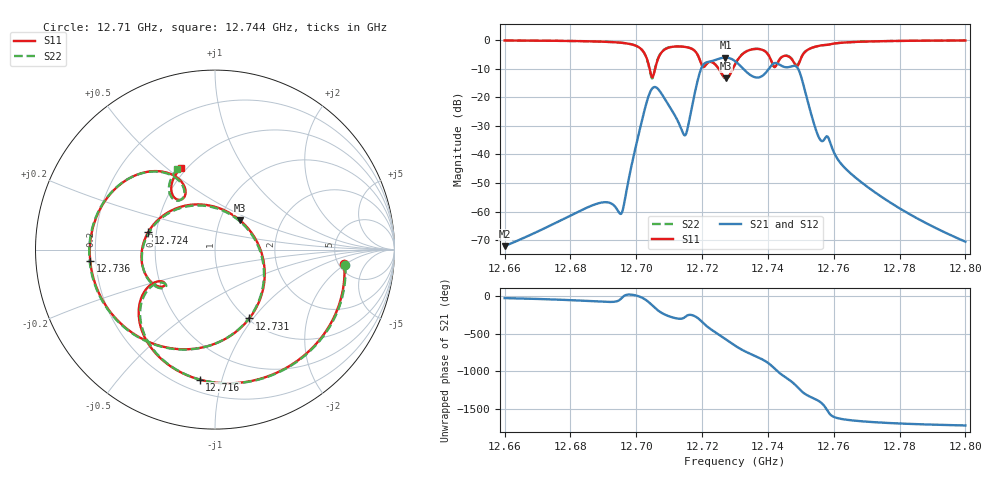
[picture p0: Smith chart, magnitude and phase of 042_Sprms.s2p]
! TOUCHSTONE file generated by CST MICROWAVE STUDIO
! Date and time: Wed Jul 31 12:47:23 2024
! Project name: WaveGuide_BPF-Ver4.1_U-shape_Ku_T3_C4_CWA_2.cst
! Parameters = {cavity_h=16; cavity_l0=10; cavity_l1=15.2186; cavity_l2=16.8383; cavity_l3=17.1344; cavity_l4=17.283; cavity_l5=17.0984; cavity_l6=17.5716; cavity_r=2.5; cavity_screw_l=0.5; cavity_screw_r=1.5; cavity_w=8; iris_h00=0; iris_h01=8.8056; iris_h112=0; iris_h12=5.5962; iris_h211=3.6683; i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
! Header version: 2018
! Port assignment regex: !\s*Touchstone port\s*([0-9]+)\s*=\s*(CST MWS port|CST DS port)\s*([0-9]+|Zmin|Zmax)\s*\(\"(.*)\"\)(\s*mode\s*([0-9]+))?.*
! Touchstone port assignment:
! Touchstone port 1 = CST MWS port 1 ("")
! Touchstone port 2 = CST MWS port 2 ("")
# GHz S RI R 50
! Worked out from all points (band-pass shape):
!   5001 points, 12.66 GHz to 12.8 GHz, reference 50 ohm
!   highest |S21| = -6.15 dB at 12.727 GHz (marker M1); lowest = -72.1 dB at 12.66 GHz (marker M2)
!   |S21| within 3 dB of the highest: 12.72008 GHz to 12.7317 GHz (11.62 MHz wide, 0.0913 % of centre); 12.74088 GHz to 12.74433 GHz (3.449 MHz wide, 0.0271 % of centre) (the widest 2 of 3)
!   lowest |S11| = -13.4 dB at 12.727 GHz (marker M3), VSWR 1.55, Z = 62.3 + j21.2 ohm
!   |S11| at or under -10 dB: 12.70405 GHz to 12.70574 GHz (1.687 MHz wide, 0.0133 % of centre); 12.72501 GHz to 12.72937 GHz (4.368 MHz wide, 0.0343 % of centre)
!   |S22| runs from -13.6 to -0.2 dB; largest |S21 - S12| = 1e-09
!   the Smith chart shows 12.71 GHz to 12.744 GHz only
!   S11 on the Smith chart (normalised r, x): 12.71 GHz: 5.60, -1.88; 12.716 GHz: 0.28, -0.85; 12.724 GHz: 0.45, +0.10; 12.731 GHz: 1.02, -0.96; 12.736 GHz: 0.18, -0.04; 12.744 GHz: 0.47, +0.56
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12.66  0.3429 0.9181  0.000226 -0.000101  0.000226 -0.000101  0.3358 0.9209
12.68335  0.7698 0.5644  0.00056 -0.000896  0.00056 -0.000896  0.7631 0.5742
12.6955  0.8903 -0.0783  0.000831 -0.000409  0.000831 -0.000409  0.8928 -0.0606
12.70208  0.2088 -0.5986  0.0426 -0.0207  0.0426 -0.0207  0.2238 -0.5912
12.70444  -0.241 -0.0826  -0.0309 -0.1268  -0.0309 -0.1268  -0.2291 -0.0716
12.70668  0.2866 0.3816  -0.1352 0.0266  -0.1352 0.0266  0.308 0.3791
12.7095  0.7198 -0.0799  -0.0147 0.0766  -0.0147 0.0766  0.7256 -0.0842
12.71611  -0.0857 -0.7239  -0.0151 0.0368  -0.0151 0.0368  -0.072 -0.7275
12.72079  -0.2829 -0.2017  0.3779 -0.1003  0.3779 -0.1003  -0.2758 -0.2098
12.72376  -0.373 0.0955  -0.1683 -0.408  -0.1683 -0.408  -0.3742 0.084
12.72709  0.1041 0.1899  -0.4181 0.2607  -0.4181 0.2607  0.1058 0.1828
12.72737  0.1403 0.1625  -0.3747 0.3192  -0.3747 0.3192  0.1421 0.1545
12.73  0.2511 -0.2763  0.2037 0.3763  0.2037 0.3763  0.2432 -0.2882
12.73059  0.1909 -0.3836  0.2824 0.2854  0.2824 0.2854  0.1807 -0.3933
12.7365  -0.6951 -0.0645  0.0225 -0.2196  0.0225 -0.2196  -0.6983 -0.065
12.74089  -0.2076 0.3984  -0.3317 0.1099  -0.3317 0.1099  -0.2148 0.3965
12.744  -0.1913 0.4521  0.2714 0.2318  0.2714 0.2318  -0.2104 0.4476
12.74784  0.3305 0.2442  0.0443 -0.3504  0.0443 -0.3504  0.3191 0.2733
12.75335  0.6027 -0.4115  0.00123 0.0458  0.00123 0.0458  0.6192 -0.3838
12.76002  -0.2044 -0.8427  -0.0107 -0.00209  -0.0107 -0.00209  -0.1821 -0.8458
12.77668  -0.9309 -0.2281  -0.000497 0.00141  -0.000497 0.00141  -0.9282 -0.2374
12.8  -0.9381 0.2879  6.9e-05 0.000289  6.9e-05 0.000289  -0.9398 0.2821
